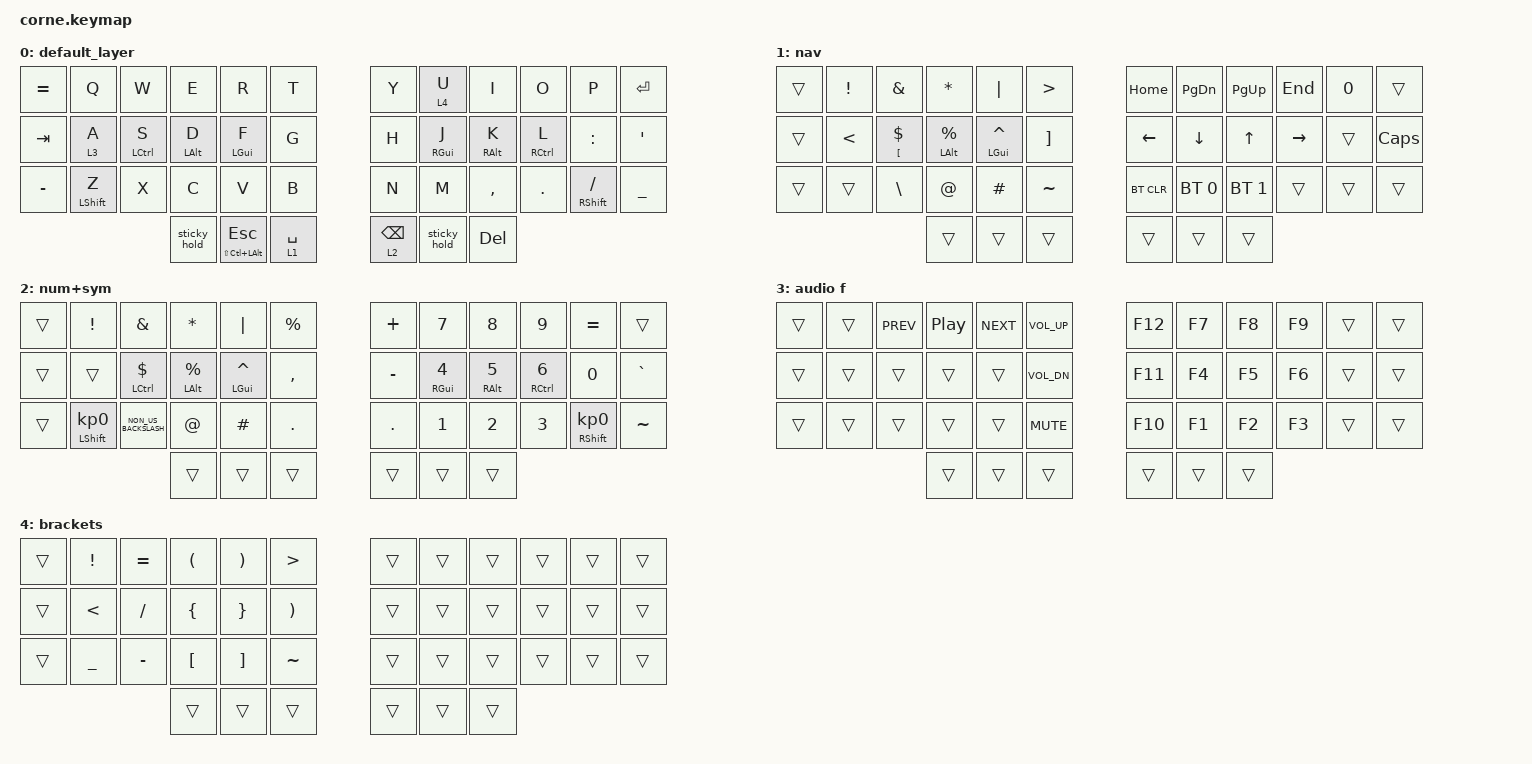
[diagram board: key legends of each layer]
/*
 * Copyright (c) 2020 The ZMK Contributors
 *
 * SPDX-License-Identifier: MIT
 */

#include <behaviors.dtsi>
#include <dt-bindings/zmk/bt.h>
#include <dt-bindings/zmk/ext_power.h>
#include <dt-bindings/zmk/keys.h>

&mt {
    flavor = "balanced";
    quick-tap-ms = <175>;
};

&sk { quick-release; };

/ {
    combos {
        compatible = "zmk,combos";

        screenshot {
            bindings = <&kp LG(LS(KP_NUMBER_8))>;
            key-positions = <40 10>;
            layers = <0>;
        };

        alt-tab {
            bindings = <&kp LA(TAB)>;
            key-positions = <38 0>;
        };

        bootloader-left {
            bindings = <&bootloader>;
            key-positions = <12 17>;
        };

        bootloader-right {
            bindings = <&bootloader>;
            key-positions = <18 23>;
        };

        ext_power_on {
            bindings = <&ext_power EP_ON>;
            key-positions = <12 23>;
        };

        ext_power_off {
            bindings = <&ext_power EP_OFF>;
            key-positions = <24 35>;
        };
    };

    behaviors {
        sticky_hold: sticky_hold {
            compatible = "zmk,behavior-tap-dance";
            label = "STICKY_HOLD";
            #binding-cells = <0>;
            bindings = <&sk LSHIFT>, <&kp LSHIFT>;

            tapping-term-ms = <170>;
        };

        osmshift_meta: osmshift_meta {
            compatible = "zmk,behavior-tap-dance";
            label = "OSMSHIFT_META";
            #binding-cells = <0>;
            bindings = <&sk LEFT_SHIFT>, <&kp LS(LC(LEFT_ALT))>;
        };

        osmshift_meta2: osmshift_meta2 {
            compatible = "zmk,behavior-hold-tap";
            label = "OSMSHIFT_META2";
            bindings = <&mt>, <&sk>;

            #binding-cells = <2>;
            tapping-term-ms = <200>;
            flavor = "balanced";
        };
    };

    macros {
        new_macro: new_macro {
            compatible = "zmk,behavior-macro";
            #binding-cells = <0>;
            bindings = <&none>;
            label = "NEW_MACRO";
        };
    };

    keymap {
        compatible = "zmk,keymap";

        default_layer {
            // -----------------------------------------------------------------------------------------
            // |  TAB |  Q  |  W  |  E  |  R  |  T  |   |  Y  |  U   |  I  |  O  |  P  | BKSP |
            // | CTRL |  A  |  S  |  D  |  F  |  G  |   |  H  |  J   |  K  |  L  |  ;  |  '   |
            // | SHFT |  Z  |  X  |  C  |  V  |  B  |   |  N  |  M   |  ,  |  .  |  /  | ESC  |
            //                    | GUI | LWR | SPC |   | ENT | RSE  | ALT |

            bindings = <
&kp EQUAL  &kp Q             &kp W        &kp E           &kp R                     &kp T          &kp Y            &lt 4 U          &kp I            &kp O        &kp P                 &kp RETURN
&kp TAB    &lt 3 A           &mt LCTRL S  &mt LEFT_ALT D  &mt LEFT_GUI F            &kp G          &kp H            &mt RIGHT_GUI J  &mt RIGHT_ALT K  &mt RCTRL L  &kp COLON             &kp SQT
&kp MINUS  &mt LEFT_SHIFT Z  &kp X        &kp C           &kp V                     &kp B          &kp N            &kp M            &kp COMMA        &kp DOT      &mt RIGHT_SHIFT FSLH  &kp UNDER
                                          &sticky_hold    &mt LS(LC(LEFT_ALT)) ESC  &lt 1 SPACE    &lt 2 BACKSPACE  &sticky_hold     &kp DEL
            >;
        };

        nav+symbols {
            // -----------------------------------------------------------------------------------------
            // |  TAB |  1  |  2  |  3  |  4  |  5  |   |  6  |  7  |  8  |  9  |  0  | BKSP |
            // | BTCLR| BT1 | BT2 | BT3 | BT4 | BT5 |   | LFT | DWN |  UP | RGT |     |      |
            // | SHFT |     |     |     |     |     |   |     |     |     |     |     |      |
            //                    | GUI |     | SPC |   | ENT |     | ALT |

            bindings = <
&trans  &kp EXCL       &kp AMPERSAND    &kp ASTERISK          &kp PIPE            &kp GREATER_THAN     &kp HOME    &kp PAGE_DOWN  &kp PAGE_UP   &kp END    &kp N0  &trans
&trans  &kp LESS_THAN  &mt LBKT DOLLAR  &mt LEFT_ALT PERCENT  &mt LEFT_GUI CARET  &kp RIGHT_BRACKET    &kp LEFT    &kp DOWN       &kp UP        &kp RIGHT  &trans  &kp CAPSLOCK
&trans  &trans         &kp BACKSLASH    &kp AT_SIGN           &kp HASH            &kp TILDE            &bt BT_CLR  &bt BT_SEL 0   &bt BT_SEL 1  &trans     &trans  &trans
                                        &trans                &trans              &trans               &trans      &trans         &trans
            >;

            label = "nav";
        };

        num+symbols {
            // -----------------------------------------------------------------------------------------
            // |  TAB |  !  |  @  |  #  |  $  |  %  |   |  ^  |  &  |  *  |  (  |  )  | BKSP |
            // | CTRL |     |     |     |     |     |   |  -  |  =  |  [  |  ]  |  \  |  `   |
            // | SHFT |     |     |     |     |     |   |  _  |  +  |  {  |  }  | "|" |  ~   |
            //                    | GUI |     | SPC |   | ENT |     | ALT |

            bindings = <
&trans  &kp EXCL                &kp AMPERSAND         &kp ASTERISK          &kp PIPE        &kp PRCNT    &kp PLUS   &kp N7             &kp N8            &kp N9              &kp EQUAL                    &trans
&trans  &trans                  &mt LCTRL DOLLAR      &mt LEFT_ALT PERCENT  &mt LGUI CARET  &kp COMMA    &kp MINUS  &mt RGUI NUMBER_4  &mt RIGHT_ALT N5  &mt RCTRL NUMBER_6  &kp N0                       &kp GRAVE
&trans  &mt LSHIFT KP_NUMBER_0  &kp NON_US_BACKSLASH  &kp AT_SIGN           &kp HASH        &kp DOT      &kp DOT    &kp NUMBER_1       &kp NUMBER_2      &kp NUMBER_3        &mt RIGHT_SHIFT KP_NUMBER_0  &kp TILDE
                                                      &trans                &trans          &trans       &trans     &trans             &trans
            >;

            label = "num+sym";
        };

        audio {
            bindings = <
&trans  &trans  &kp C_PREV  &kp C_PLAY_PAUSE  &kp C_NEXT  &kp C_VOL_UP    &kp F12  &kp F7  &kp F8  &kp F9  &trans  &trans
&trans  &trans  &trans      &trans            &trans      &kp C_VOL_DN    &kp F11  &kp F4  &kp F5  &kp F6  &trans  &trans
&trans  &trans  &trans      &trans            &trans      &kp K_MUTE      &kp F10  &kp F1  &kp F2  &kp F3  &trans  &trans
                            &trans            &trans      &trans          &trans   &trans  &trans
            >;

            label = "audio f";
        };

        brackets {
            bindings = <
&trans  &kp EXCL        &kp EQUAL  &kp LPAR          &kp RPAR           &kp GT                   &trans  &trans  &trans  &trans  &trans  &trans
&trans  &kp LT          &kp SLASH  &kp LBRC          &kp RBRC           &kp RIGHT_PARENTHESIS    &trans  &trans  &trans  &trans  &trans  &trans
&trans  &kp UNDERSCORE  &kp MINUS  &kp LEFT_BRACKET  &kp RIGHT_BRACKET  &kp TILDE                &trans  &trans  &trans  &trans  &trans  &trans
                                   &trans            &trans             &trans                   &trans  &trans  &trans
            >;

            label = "brackets";
        };
    };
};
